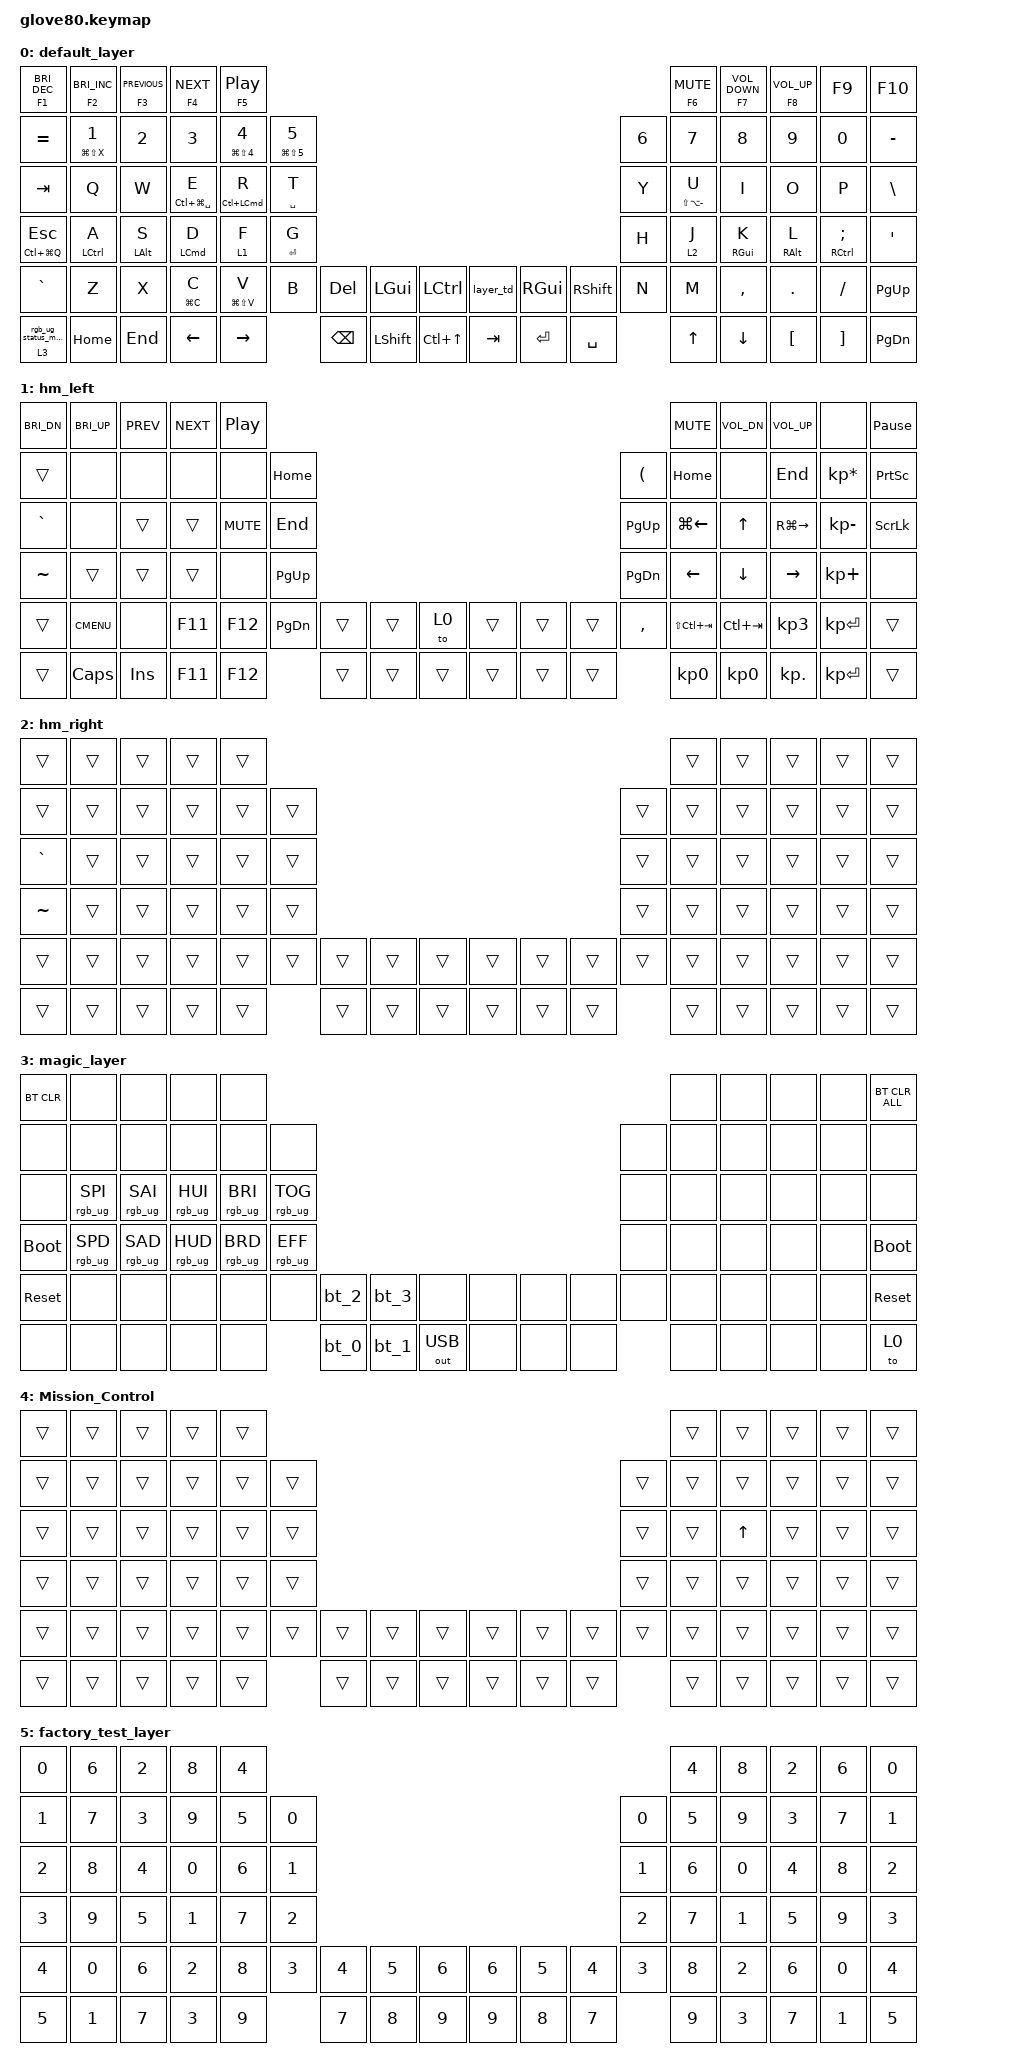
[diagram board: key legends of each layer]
/*
 * Copyright (c) 2020 The ZMK Contributors
 *
 * SPDX-License-Identifier: MIT
 */

#include <behaviors.dtsi>
#include <dt-bindings/zmk/bt.h>
#include <dt-bindings/zmk/keys.h>
#include <dt-bindings/zmk/outputs.h>
#include <dt-bindings/zmk/rgb.h>

#define HYPER LC(LS(LG(LALT)))

// layers

#define DEFAULT 0
#define LOWER 1
#define MAGIC 2
#define FACTORY_TEST 3

/ {
    behaviors {
        // For the "layer" key, it'd nice to be able to use it as either a shift or a toggle.
        // Configure it as a tap dance, so the first tap (or hold) is a &mo and the second tap is a &to

        layer_td: tap_dance_0 {
            compatible = "zmk,behavior-tap-dance";
            label = "LAYER_TAP_DANCE";
            #binding-cells = <0>;
            tapping-term-ms = <200>;
            bindings = <&mo 1>, <&to 1>;
        };

        magic: magic_hold_tap {
            compatible = "zmk,behavior-hold-tap";
            label = "MAGIC_HOLD_TAP";
            #binding-cells = <2>;
            flavor = "tap-preferred";
            tapping-term-ms = <200>;
            bindings = <&mo>, <&rgb_ug_status_macro>;
        };

        hm: hm {
            compatible = "zmk,behavior-hold-tap";
            label = "HM";
            bindings = <&kp>, <&kp>;

            #binding-cells = <2>;
            tapping-term-ms = <300>;
            quick-tap-ms = <0>;
            require-prior-idle-ms = <300>;
            flavor = "tap-preferred";
        };
    };

    macros {
        rgb_ug_status_macro: rgb_ug_status_macro_0 {
            label = "RGB_UG_STATUS";
            compatible = "zmk,behavior-macro";
            #binding-cells = <0>;
            bindings = <&rgb_ug RGB_STATUS>;
        };

        bt_0: bt_profile_macro_0 {
            label = "BT_0";
            compatible = "zmk,behavior-macro";
            #binding-cells = <0>;
            bindings = <&out OUT_BLE &bt BT_SEL 0>;
        };

        bt_1: bt_profile_macro_1 {
            label = "BT_1";
            compatible = "zmk,behavior-macro";
            #binding-cells = <0>;
            bindings = <&out OUT_BLE &bt BT_SEL 1>;
        };

        bt_2: bt_profile_macro_2 {
            label = "BT_2";
            compatible = "zmk,behavior-macro";
            #binding-cells = <0>;
            bindings = <&out OUT_BLE &bt BT_SEL 2>;
        };

        bt_3: bt_profile_macro_3 {
            label = "BT_3";
            compatible = "zmk,behavior-macro";
            #binding-cells = <0>;
            bindings = <&out OUT_BLE &bt BT_SEL 3>;
        };
    };

    keymap {
        compatible = "zmk,keymap";

        default_layer {
            // ---------------------------------------------------------------------------------------------------------------------------------
            // |  F1   |  F2 |  F3 |  F4  |  F5  |                                                               |  F6   |  F7   |  F8  |   F9  |  F10 |
            // |  =    |  1  |  2  |  3   |  4   |  5   |                                                 |  6   |   7   |   8   |  9   |   0   |   -  |
            // |  TAB  |  Q  |  W  |  E   |  R   |  T   |                                                 |  Y   |   U   |   I   |  O   |   P   |   \  |
            // |  ESC  |  A  |  S  |  D   |  F   |  G   |                                                 |  H   |   J   |   K   |  L   |   ;   |   '  |
            // |   `   |  Z  |  X  |  C   |  V   |  B   | LSHFT | LCTRL | LOWER | | LGUI  | RCTRL | RSHFT |  N   |   M   |   ,   |  .   |   /   | PGUP |
            // | MAGIC | HOME| END | LEFT | RIGHT|      | BSPC  | DEL   | LALT  | | RALT  | RET   | SPACE |      |  UP   | DOWN  |  [   |   ]   | PGDN |

            bindings = <
&hm F1 C_BRIGHTNESS_DEC  &hm F2 C_BRIGHTNESS_INC  &hm F3 C_PREVIOUS  &hm F4 C_NEXT        &hm F5 C_PLAY_PAUSE                                                                                                                    &hm F6 C_MUTE        &hm F7 C_VOLUME_DOWN  &hm F8 C_VOLUME_UP  &kp F9               &kp F10
&kp EQUAL                &hm LG(LS(X)) N1         &kp N2             &kp N3               &hm LG(LS(NUMBER_4)) N4  &hm LG(LS(N5)) N5                                                                                     &kp N6  &kp N7               &kp N8                &kp N9              &kp N0               &kp MINUS
&kp TAB                  &kp Q                    &kp W              &hm LC(LG(SPACE)) E  &hm LC(LEFT_COMMAND) R   &hm SPACE T                                                                                           &kp Y   &hm LS(LA(MINUS)) U  &kp I                 &kp O               &kp P                &kp BSLH
&hm LC(LG(Q)) ESC        &hm LCTRL A              &hm LEFT_ALT S     &hm LEFT_COMMAND D   &lt 1 F                  &hm ENTER G                                                                                           &kp H   &lt 2 J              &hm RIGHT_GUI K       &hm RIGHT_ALT L     &hm RCTRL SEMICOLON  &kp SQT
&kp GRAVE                &kp Z                    &kp X              &hm LG(C) C          &hm LG(LS(V)) V          &kp B              &kp DELETE  &kp LEFT_GUI    &kp LEFT_CONTROL  &layer_td  &kp RIGHT_GUI  &kp RSHFT  &kp N   &kp M                &kp COMMA             &kp DOT             &kp FSLH             &kp PG_UP
&magic 3 0               &kp HOME                 &kp END            &kp LEFT             &kp RIGHT                                   &kp BSPC    &kp LEFT_SHIFT  &kp LC(UP_ARROW)  &kp TAB    &kp RET        &kp SPACE          &kp UP               &kp DOWN              &kp LBKT            &kp RBKT             &kp PG_DN
            >;
        };

        hm_left {
            bindings = <
&kp C_BRI_DN  &kp C_BRI_UP  &kp C_PREV  &kp C_NEXT  &kp C_PP                                                                              &kp C_MUTE       &kp C_VOL_DN    &kp C_VOL_UP         &none            &kp PAUSE_BREAK
&trans        &none         &none       &none       &none       &kp HOME                                                   &kp LPAR       &kp HOME         &none           &kp END              &kp KP_MULTIPLY  &kp PSCRN
&kp GRAVE     &none         &trans      &trans      &kp C_MUTE  &kp END                                                    &kp PAGE_UP    &kp LG(LEFT)     &kp UP_ARROW    &kp RG(RIGHT_ARROW)  &kp KP_MINUS     &kp SLCK
&kp TILDE     &trans        &trans      &trans      &none       &kp PG_UP                                                  &kp PAGE_DOWN  &kp LEFT_ARROW   &kp DOWN_ARROW  &kp RIGHT            &kp KP_PLUS      &none
&trans        &kp K_CMENU   &none       &kp F11     &kp F12     &kp PG_DN  &trans  &trans  &to 0   &trans  &trans  &trans  &kp COMMA      &kp LS(LC(TAB))  &kp LC(TAB)     &kp KP_N3            &kp KP_ENTER     &trans
&trans        &kp CAPS      &kp INS     &kp F11     &kp F12                &trans  &trans  &trans  &trans  &trans  &trans                 &kp KP_N0        &kp KP_N0       &kp KP_DOT           &kp KP_ENTER     &trans
            >;
        };

        hm_right {
            bindings = <
&trans     &trans  &trans  &trans  &trans                                                                  &trans  &trans  &trans  &trans  &trans
&trans     &trans  &trans  &trans  &trans  &trans                                                  &trans  &trans  &trans  &trans  &trans  &trans
&kp GRAVE  &trans  &trans  &trans  &trans  &trans                                                  &trans  &trans  &trans  &trans  &trans  &trans
&kp TILDE  &trans  &trans  &trans  &trans  &trans                                                  &trans  &trans  &trans  &trans  &trans  &trans
&trans     &trans  &trans  &trans  &trans  &trans  &trans  &trans  &trans  &trans  &trans  &trans  &trans  &trans  &trans  &trans  &trans  &trans
&trans     &trans  &trans  &trans  &trans          &trans  &trans  &trans  &trans  &trans  &trans          &trans  &trans  &trans  &trans  &trans
            >;
        };

        magic_layer {
            bindings = <
&bt BT_CLR   &none            &none            &none            &none                                                                                     &none  &none  &none  &none  &bt BT_CLR_ALL
&none        &none            &none            &none            &none            &none                                                             &none  &none  &none  &none  &none  &none
&none        &rgb_ug RGB_SPI  &rgb_ug RGB_SAI  &rgb_ug RGB_HUI  &rgb_ug RGB_BRI  &rgb_ug RGB_TOG                                                   &none  &none  &none  &none  &none  &none
&bootloader  &rgb_ug RGB_SPD  &rgb_ug RGB_SAD  &rgb_ug RGB_HUD  &rgb_ug RGB_BRD  &rgb_ug RGB_EFF                                                   &none  &none  &none  &none  &none  &bootloader
&sys_reset   &none            &none            &none            &none            &none            &bt_2  &bt_3  &none         &none  &none  &none  &none  &none  &none  &none  &none  &sys_reset
&none        &none            &none            &none            &none                             &bt_0  &bt_1  &out OUT_USB  &none  &none  &none         &none  &none  &none  &none  &to 0
            >;
        };

        Mission_Control {
            bindings = <
&trans  &trans  &trans  &trans  &trans                                                                  &trans  &trans        &trans  &trans  &trans
&trans  &trans  &trans  &trans  &trans  &trans                                                  &trans  &trans  &trans        &trans  &trans  &trans
&trans  &trans  &trans  &trans  &trans  &trans                                                  &trans  &trans  &kp UP_ARROW  &trans  &trans  &trans
&trans  &trans  &trans  &trans  &trans  &trans                                                  &trans  &trans  &trans        &trans  &trans  &trans
&trans  &trans  &trans  &trans  &trans  &trans  &trans  &trans  &trans  &trans  &trans  &trans  &trans  &trans  &trans        &trans  &trans  &trans
&trans  &trans  &trans  &trans  &trans          &trans  &trans  &trans  &trans  &trans  &trans          &trans  &trans        &trans  &trans  &trans
            >;
        };

        factory_test_layer {
            bindings = <
&kp N0  &kp N6  &kp N2  &kp N8  &kp N4                                                                  &kp N4  &kp N8  &kp N2  &kp N6  &kp N0
&kp N1  &kp N7  &kp N3  &kp N9  &kp N5  &kp N0                                                  &kp N0  &kp N5  &kp N9  &kp N3  &kp N7  &kp N1
&kp N2  &kp N8  &kp N4  &kp N0  &kp N6  &kp N1                                                  &kp N1  &kp N6  &kp N0  &kp N4  &kp N8  &kp N2
&kp N3  &kp N9  &kp N5  &kp N1  &kp N7  &kp N2                                                  &kp N2  &kp N7  &kp N1  &kp N5  &kp N9  &kp N3
&kp N4  &kp N0  &kp N6  &kp N2  &kp N8  &kp N3  &kp N4  &kp N5  &kp N6  &kp N6  &kp N5  &kp N4  &kp N3  &kp N8  &kp N2  &kp N6  &kp N0  &kp N4
&kp N5  &kp N1  &kp N7  &kp N3  &kp N9          &kp N7  &kp N8  &kp N9  &kp N9  &kp N8  &kp N7          &kp N9  &kp N3  &kp N7  &kp N1  &kp N5
            >;
        };
    };
};
